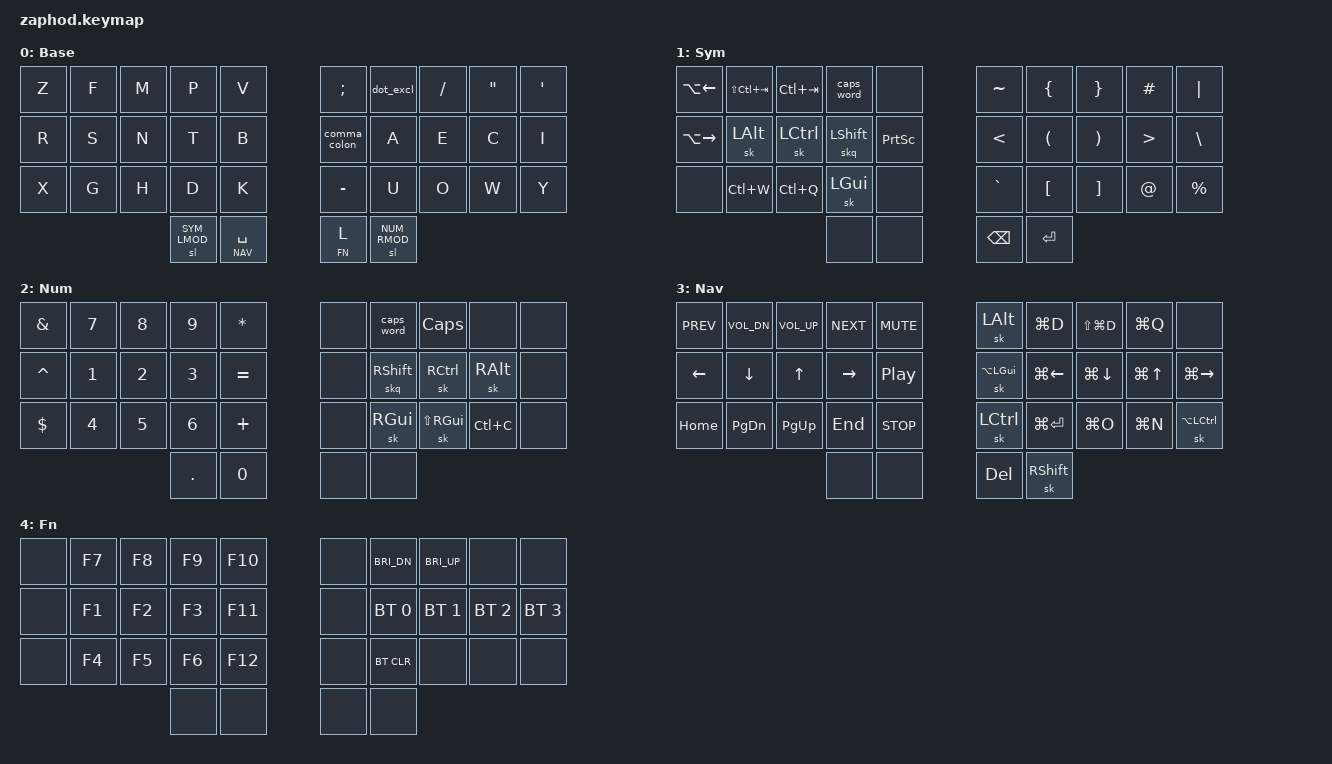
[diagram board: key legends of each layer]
#include <behaviors.dtsi>
#include <dt-bindings/zmk/keys.h>
#include <dt-bindings/zmk/bt.h>

#define MAIN 0
#define SYM_LMOD 1
#define NUM_RMOD 2
#define NAV 3
#define FN 4

&mt {
    flavor = "tap-preferred";
    tapping_term_ms = <180>;
};

/ {
    behaviors {
        comma_colon: comma_colon {
            compatible = "zmk,behavior-mod-morph";
            label = "COMMA_COLON";
            #binding-cells = <0>;
            bindings = <&kp COMMA>, <&kp COLON>;
            mods = <(MOD_LSFT|MOD_RSFT)>;
        };

        dot_excl: dot_excl {
            compatible = "zmk,behavior-mod-morph";
            label = "DOT_EXCL";
            #binding-cells = <0>;
            bindings = <&kp DOT>, <&kp EXCL>;
            mods = <(MOD_LSFT|MOD_RSFT)>;
        };

        skq: sticky_key_quick_release {
            compatible = "zmk,behavior-sticky-key";
            label = "STICKY_KEY_QUICK_RELEASE";
            #binding-cells = <1>;
            bindings = <&kp>;
            release-after-ms = <1000>;
            quick-release;
        };
    };

    combos {
        compatible = "zmk,combos";

        combo_j {
            timeout-ms = <30>;
            key-positions = <1 2>;
            bindings = <&kp J>;
            layers = <0>;
        };

        combo_q {
            timeout-ms = <30>;
            key-positions = <2 3>;
            bindings = <&kp Q>;
            layers = <0>;
        };

        combo_esc {
            timeout-ms = <30>;
            key-positions = <21 22>;
            bindings = <&kp ESC>;
            layers = <0>;
        };

        combo_tab {
            timeout-ms = <30>;
            key-positions = <22 23>;
            bindings = <&kp TAB>;
            layers = <0>;
        };
    };

    keymap {
        compatible = "zmk,keymap";

        MAIN_layer {
            label = "Base";
            bindings = <
                &kp Z &kp F &kp M &kp P        &kp V            &kp SEMI     &dot_excl    &kp FSLH &kp DQT &kp SQT
                &kp R &kp S &kp N &kp T        &kp B            &comma_colon &kp A        &kp E    &kp C   &kp I
                &kp X &kp G &kp H &kp D        &kp K            &kp MINUS    &kp U        &kp O    &kp W   &kp Y
                                  &sl SYM_LMOD &lt NAV SPC      &lt FN L     &sl NUM_RMOD
            >;
        };

        SYM_LMOD_layer {
            label = "Sym";
            bindings = <
                &kp LA(LEFT)  &kp LS(LC(TAB)) &kp LC(TAB) &caps_word &none          &kp TILDE &kp LBRC  &kp RBRC &kp HASH &kp PIPE
                &kp LA(RIGHT) &sk LALT        &sk LCTRL   &skq LSHFT &kp PSCRN      &kp LT    &kp LPAR  &kp RPAR &kp GT   &kp BSLH
                &none         &kp LC(W)       &kp LC(Q)   &sk LGUI   &none          &kp GRAVE &kp LBKT  &kp RBKT &kp AT   &kp PRCNT
                                                          &none      &none          &kp BSPC  &kp ENTER
            >;
        };

        NUM_RMOD_layer {
            label = "Num";
            bindings = <
               &kp AMPS  &kp N7 &kp N8 &kp N9  &kp STAR       &none &caps_word &kp CAPS     &none     &none
               &kp CARET &kp N1 &kp N2 &kp N3  &kp EQUAL      &none &skq RSHFT &sk RCTRL    &sk RALT  &none
               &kp DLLR  &kp N4 &kp N5 &kp N6  &kp PLUS       &none &sk RGUI   &sk LS(RGUI) &kp LC(C) &none
                                       &kp DOT &kp N0         &none &none
            >;
        };

        NAV_layer {
            label = "Nav";
            bindings = <
                &kp C_PREV &kp C_VOL_DN &kp C_VOL_UP &kp C_NEXT &kp C_MUTE      &sk LALT     &kp LG(D)     &kp LS(LG(D)) &kp LG(Q)  &none
                &kp LEFT   &kp DOWN     &kp UP       &kp RIGHT  &kp C_PP        &sk LA(LGUI) &kp LG(LEFT)  &kp LG(DOWN)  &kp LG(UP) &kp LG(RIGHT)
                &kp HOME   &kp PG_DN    &kp PG_UP    &kp END    &kp C_STOP      &sk LCTRL    &kp LG(ENTER) &kp LG(O)     &kp LG(N)  &sk LA(LCTRL)
                                                     &none      &none           &kp DEL      &sk RSHFT
            >;
        };

        FN_layer {
            label = "Fn";
            bindings = <
                &none &kp F7 &kp F8 &kp F9 &kp F10      &none &kp C_BRI_DN &kp C_BRI_UP &none        &none
                &none &kp F1 &kp F2 &kp F3 &kp F11      &none &bt BT_SEL 0 &bt BT_SEL 1 &bt BT_SEL 2 &bt BT_SEL 3
                &none &kp F4 &kp F5 &kp F6 &kp F12      &none &bt BT_CLR   &none        &none        &none
                                    &none  &none        &none &none
            >;
        };
    };
};
